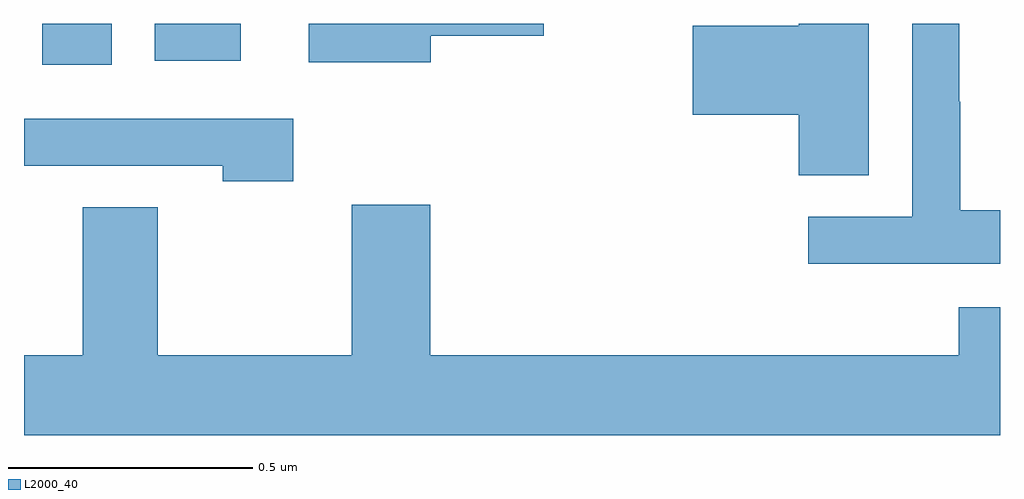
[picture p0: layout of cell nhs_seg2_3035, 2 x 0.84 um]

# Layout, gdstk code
import gdstk
lib = gdstk.Library(unit=1e-6, precision=1e-09)
def R(c, l, rs):  # rectangles x0, y0, x1, y1
    for r in rs: c.add(gdstk.rectangle(r[:2], r[2:], *l))
def P(c, l, *ps):  # polygons
    for p in ps: c.add(gdstk.Polygon(p, *l))
L2000_40 = (2000, 40)

nhs_seg2_3035 = lib.new_cell('nhs_seg2_3035')
R(nhs_seg2_3035, L2000_40, [(148.037,661.716,148.18,661.8), (148.268,661.724,148.444,661.8)])
P(nhs_seg2_3035, L2000_40, [(150,661.417),(149.919,661.417),(149.919,661.64),(149.916,661.64),(149.916,661.8),(149.82,661.8),(149.82,661.404),(149.607,661.404),(149.607,661.308),(150,661.308)],
  [(149.731,661.8),(149.588,661.8),(149.588,661.796),(149.37,661.796),(149.37,661.613),(149.588,661.613),(149.588,661.489),(149.731,661.489)],
  [(148.834,661.775),(149.065,661.775),(149.065,661.8),(148.583,661.8),(148.583,661.721),(148.834,661.721)],
  [(148.552,661.605),(148,661.605),(148,661.509),(148.407,661.509),(148.407,661.477),(148.552,661.477)],
  [(150,661.219),(149.915,661.219),(149.915,661.12),(148.832,661.12),(148.832,661.429),(148.672,661.429),(148.672,661.12),(148.274,661.12),(148.274,661.424),(148.12,661.424),(148.12,661.12),(148,661.12),(148,660.956),(150,660.956)])

lib.write_gds('nhs_seg2_3035.gds')
